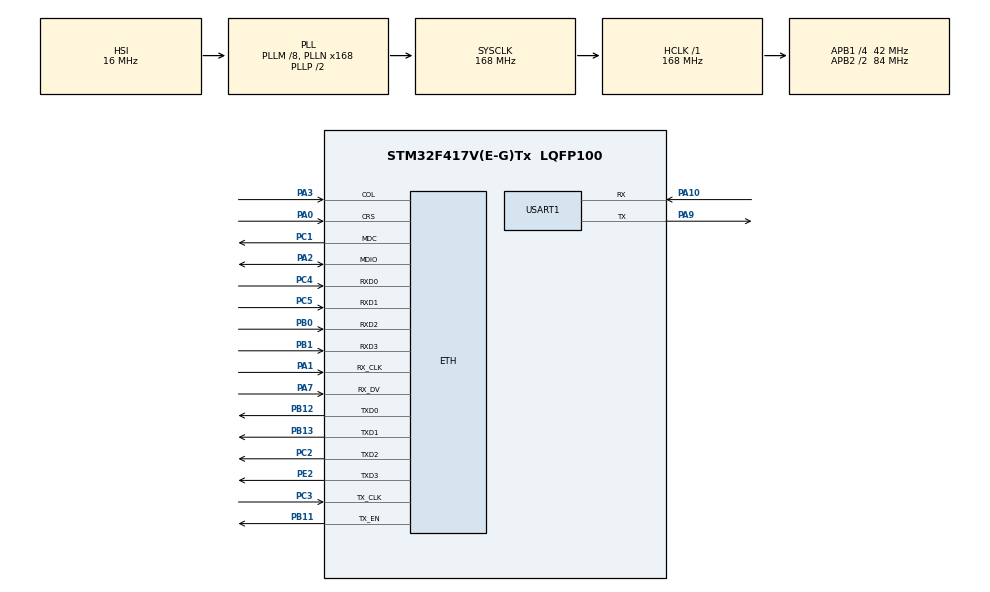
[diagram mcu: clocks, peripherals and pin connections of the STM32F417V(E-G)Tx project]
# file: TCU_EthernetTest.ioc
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ETH.MediaInterface=HAL_ETH_MII_MODE
FREERTOS.Tasks01=defaultTask,0,1024,StartDefaultTask,Default,NULL,Dynamic,NULL,NULL
FREERTOS.configUSE_NEWLIB_REENTRANT=1
LWIP.BSP.number=1
LWIP.GATEWAY_ADDRESS=192.168.002.002
LWIP.IP_ADDRESS=192.168.002.036
LWIP.LWIP_DHCP=0
LWIP.NETMASK_ADDRESS=255.255.255.000
LWIP.Version=v2.1.2_Cube
LWIP0.BSP.STBoard=false
LWIP0.BSP.api=BSP_COMPONENT_DRIVER
LWIP0.BSP.component=DP83848
LWIP0.BSP.instance=DP83848
LWIP0.BSP.name=Driver_PHY
LWIP0.BSP.semaphore=S_DP83848
LWIP0.BSP.solution=DP83848
Mcu.Family=STM32F4
Mcu.Name=STM32F417V(E-G)Tx
Mcu.Package=LQFP100
NVIC.ETH_IRQn=true\:5\:0\:false\:false\:true\:true\:false\:true\:true
NVIC.PriorityGroup=NVIC_PRIORITYGROUP_4
NVIC.TIM1_UP_TIM10_IRQn=true\:15\:0\:false\:false\:true\:false\:false\:true\:true
NVIC.TimeBase=TIM1_UP_TIM10_IRQn
NVIC.TimeBaseIP=TIM1
PA0-WKUP.Mode=MII
PA0-WKUP.Signal=ETH_CRS
PA1.Mode=MII
PA1.Signal=ETH_RX_CLK
PA10.Mode=Asynchronous
PA10.Signal=USART1_RX
PA2.Mode=MII
PA2.Signal=ETH_MDIO
PA3.Mode=MII
PA3.Signal=ETH_COL
PA7.Mode=MII
PA7.Signal=ETH_RX_DV
PA9.Mode=Asynchronous
PA9.Signal=USART1_TX
PB0.Mode=MII
PB0.Signal=ETH_RXD2
PB1.Mode=MII
PB1.Signal=ETH_RXD3
PB11.Mode=MII
PB11.Signal=ETH_TX_EN
PB12.Mode=MII
PB12.Signal=ETH_TXD0
PB13.Mode=MII
PB13.Signal=ETH_TXD1
PC1.Mode=MII
PC1.Signal=ETH_MDC
PC2.Mode=MII
PC2.Signal=ETH_TXD2
PC3.Mode=MII
PC3.Signal=ETH_TX_CLK
PC4.Mode=MII
PC4.Signal=ETH_RXD0
PC5.Mode=MII
PC5.Signal=ETH_RXD1
PE2.Mode=MII
PE2.Signal=ETH_TXD3
ProjectManager.HeapSize=0x200
ProjectManager.StackSize=0x400
ProjectManager.TargetToolchain=STM32CubeIDE
RCC.48MHZClocksFreq_Value=84000000
RCC.AHBFreq_Value=168000000
RCC.APB1CLKDivider=RCC_HCLK_DIV4
RCC.APB1Freq_Value=42000000
RCC.APB1TimFreq_Value=84000000
RCC.APB2CLKDivider=RCC_HCLK_DIV2
RCC.APB2Freq_Value=84000000
RCC.APB2TimFreq_Value=168000000
RCC.CortexFreq_Value=168000000
RCC.HCLKFreq_Value=168000000
RCC.HSE_VALUE=25000000
RCC.HSI_VALUE=16000000
RCC.LSE_VALUE=32768
RCC.PLLM=8
RCC.PLLN=168
RCC.SYSCLKFreq_VALUE=168000000
RCC.SYSCLKSource=RCC_SYSCLKSOURCE_PLLCLK
RCC.VCOOutputFreq_Value=336000000
USART1.VirtualMode=VM_ASYNC
VP_FREERTOS_VS_CMSIS_V1.Mode=CMSIS_V1
VP_LWIP_VS_Enabled.Mode=Enabled
VP_SYS_VS_tim1.Mode=TIM1
board=custom

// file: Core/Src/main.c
/* USER CODE BEGIN Header */
/**
  ******************************************************************************
  * @file           : main.c
  * @brief          : Main program body
  ******************************************************************************
  * @attention
  *
  * Copyright (c) 2024 STMicroelectronics.
  * All rights reserved.
  *
  * This software is licensed under terms that can be found in the LICENSE file
  * in the root directory of this software component.
  * If no LICENSE file comes with this software, it is provided AS-IS.
  *
  ******************************************************************************
  */
/* USER CODE END Header */
#include "main.h"
#include "cmsis_os.h"
#include "lwip.h"

/* USER CODE BEGIN Includes */
#include "tcpclient.h"
#include "math.h"
#include "stdio.h"
/* USER CODE END Includes */

UART_HandleTypeDef huart1;

osThreadId defaultTaskHandle;
/* USER CODE BEGIN PV */
struct tcp_pcb *client_pcb = NULL;
/* USER CODE END PV */

void SystemClock_Config(void);
static void MX_GPIO_Init(void);
static void MX_USART1_UART_Init(void);
void StartDefaultTask(void const * argument);

/* USER CODE BEGIN PFP */
#ifdef __GNUC__
#define PUTCHAR_PROTOTYPE int __io_putchar(int ch)
#else
#define PUTCHAR_PROTOTYPE int fputc(int ch, FILE *f)
#endif
PUTCHAR_PROTOTYPE
{
    //具体哪个串口可以更改huart1为其它串�???????
    HAL_UART_Transmit(&huart1 , (uint8_t *)&ch, 1 , 0xffff);
    return ch;
}
/* USER CODE END PFP */

int main(void)
{

  /* MCU Configuration--------------------------------------------------------*/

  /* Reset of all peripherals, Initializes the Flash interface and the Systick. */
  HAL_Init();

  /* Configure the system clock */
  SystemClock_Config();

  /* Initialize all configured peripherals */
  MX_GPIO_Init();
  MX_USART1_UART_Init();

  /* Create the thread(s) */
  /* definition and creation of defaultTask */
  osThreadDef(defaultTask, StartDefaultTask, osPriorityNormal, 0, 1024);
  defaultTaskHandle = osThreadCreate(osThread(defaultTask), NULL);

  /* Start scheduler */
  osKernelStart();

  /* We should never get here as control is now taken by the scheduler */
  /* Infinite loop */
  while (1)
  {

  }
}

void SystemClock_Config(void)
{
  RCC_OscInitTypeDef RCC_OscInitStruct = {0};
  RCC_ClkInitTypeDef RCC_ClkInitStruct = {0};

  /** Configure the main internal regulator output voltage
  */
  __HAL_RCC_PWR_CLK_ENABLE();
  __HAL_PWR_VOLTAGESCALING_CONFIG(PWR_REGULATOR_VOLTAGE_SCALE1);

  /** Initializes the RCC Oscillators according to the specified parameters
  * in the RCC_OscInitTypeDef structure.
  */
  RCC_OscInitStruct.OscillatorType = RCC_OSCILLATORTYPE_HSI;
  RCC_OscInitStruct.HSIState = RCC_HSI_ON;
  RCC_OscInitStruct.HSICalibrationValue = RCC_HSICALIBRATION_DEFAULT;
  RCC_OscInitStruct.PLL.PLLState = RCC_PLL_ON;
  RCC_OscInitStruct.PLL.PLLSource = RCC_PLLSOURCE_HSI;
  RCC_OscInitStruct.PLL.PLLM = 8;
  RCC_OscInitStruct.PLL.PLLN = 168;
  RCC_OscInitStruct.PLL.PLLP = RCC_PLLP_DIV2;
  RCC_OscInitStruct.PLL.PLLQ = 4;
  if (HAL_RCC_OscConfig(&RCC_OscInitStruct) != HAL_OK)
  {
    Error_Handler();
  }

  /** Initializes the CPU, AHB and APB buses clocks
  */
  RCC_ClkInitStruct.ClockType = RCC_CLOCKTYPE_HCLK|RCC_CLOCKTYPE_SYSCLK
                              |RCC_CLOCKTYPE_PCLK1|RCC_CLOCKTYPE_PCLK2;
  RCC_ClkInitStruct.SYSCLKSource = RCC_SYSCLKSOURCE_PLLCLK;
  RCC_ClkInitStruct.AHBCLKDivider = RCC_SYSCLK_DIV1;
  RCC_ClkInitStruct.APB1CLKDivider = RCC_HCLK_DIV4;
  RCC_ClkInitStruct.APB2CLKDivider = RCC_HCLK_DIV2;

  if (HAL_RCC_ClockConfig(&RCC_ClkInitStruct, FLASH_LATENCY_5) != HAL_OK)
  {
    Error_Handler();
  }
}

static void MX_USART1_UART_Init(void)
{

  huart1.Instance = USART1;
  huart1.Init.BaudRate = 115200;
  huart1.Init.WordLength = UART_WORDLENGTH_8B;
  huart1.Init.StopBits = UART_STOPBITS_1;
  huart1.Init.Parity = UART_PARITY_NONE;
  huart1.Init.Mode = UART_MODE_TX_RX;
  huart1.Init.HwFlowCtl = UART_HWCONTROL_NONE;
  huart1.Init.OverSampling = UART_OVERSAMPLING_16;
  if (HAL_UART_Init(&huart1) != HAL_OK)
  {
    Error_Handler();
  }

}

static void MX_GPIO_Init(void)
{

  /* GPIO Ports Clock Enable */
  __HAL_RCC_GPIOE_CLK_ENABLE();
  __HAL_RCC_GPIOC_CLK_ENABLE();
  __HAL_RCC_GPIOA_CLK_ENABLE();
  __HAL_RCC_GPIOB_CLK_ENABLE();

}

void StartDefaultTask(void const * argument)
{
  /* init code for LWIP */
  MX_LWIP_Init();
  /* USER CODE BEGIN 5 */
  //  TCP_Client_Init();
    int soctemp=create_tcp_client();
  //  double t=0,y=0;
    int t=0,y=0;
    uint8_t send_buf[1550];
  //  uint8_t send_buf[30];
    void init_dataItems();
    /* Infinite loop */
    for(;;)
    {
  //	sprintf(send_buf,"{\"t\": %f, \"y\": %f}\n{\"t\": %f, \"y\": %f}\n{\"t\": %f, \"y\": %f}\n{\"t\": %f, \"y\": %f}\n",t,y,t,y,t,y,t,y);
  //	sprintf(send_buf,"{\"t\": %d, \"y\": %d}\n{\"t\": %d, \"y\": %d}\n{\"t\": %d, \"y\": %d}\n{\"t\": %d, \"y\": %d}\n",t,y,t,y,t,y,t,y);
//  	sprintf(send_buf,
//  			",0x000000010000000000000001,0x000000020000000000000002,0x000000030000000000000003,0x000000040000000000000004\n"
//  			",0x000000010000000000000002,0x000000020000000000000003,0x000000030000000000000006,0x000000040000000000000004\n"
//  			",0x000000010000000000000003,0x000000020000000000000004,0x000000030000000000000009,0x000000040000000000000004\n"
//  			",0x000000010000000000000004,0x000000020000000000000005,0x0000000300000000000000012,0x000000040000000000000004\n"
//  			"12345678901234567890123456789012345678901234567890\n12345678901234567890123456789012345678901234567890\n12345678901234567890123456789012345678901234567890\n"
//  			"12345678901234567890123456789012345678901234567890\n12345678901234567890123456789012345678901234567890\n12345678901234567890123456789012345678901234567890\n"
//  			"12345678901234567890123456789012345678901234567890\n12345678901234567890123456789012345678901234567890\n12345678901234567890123456789012345678901234567890\n"
  //			"12345678901234567890123456789012345678901234567890\n12345678901234567890123456789012345678901234567890\n12345678901234567890123456789012345678901234567890\n"
  //			"12345678901234567890123456789012345678901234567890\n12345678901234567890123456789012345678901234567890\n12345678901234567890123456789012345678901234567890\n"
  //			"12345678901234567890123456789012345678901234567890\n12345678901234567890123456789012345678901234567890\n12345678901234567890123456789012345678901234567890\n"
  //			"12345678901234567890123456789012345678901234567890\n12345678901234567890123456789012345678901234567890\n12345678901234567890123456789012345678901234567890\n"
//  			"12345678901234567890123456789012345678901234567890\n12345678901234567890123456789012345678901234567890\n12345678901234567890123456789012345678901234567890\n"
//  			"12345678901234567890123456789012345678901234567890\n12345678901234567890123456789012345678901234567890\n12345678901234567890123456789012345678901234567890\n"
//  			"12345678901234567890123456789012345678901234567890\n12345678901234567890123456789012345678901234567890\n12345678901234567890123456789012345678901234567890\n"
//  			);

  //	sprintf(send_buf,"{\"t\": %d, \"y\": %d}\n{\"t\": %d, \"y\": %d}\n{\"t\": %d, \"y\": %d}\n{\"t\": %d, \"y\": %d}\n{\"t\": %d, \"y\": %d}\n{\"t\": %d, \"y\": %d}\n{\"t\": %d, \"y\": %d}\n{\"t\": %d, \"y\": %d}\n{\"t\": %d, \"y\": %d}\n{\"t\": %d, \"y\": %d}\n{\"t\": %d, \"y\": %d}\n{\"t\": %d, \"y\": %d}\n{\"t\": %d, \"y\": %d}\n{\"t\": %d, \"y\": %d}\n{\"t\": %d, \"y\": %d}\n{\"t\": %d, \"y\": %d}\n{\"t\": %d, \"y\": %d}\n{\"t\": %d, \"y\": %d}\n{\"t\": %d, \"y\": %d}\n{\"t\": %d, \"y\": %d}\n{\"t\": %d, \"y\": %d}\n{\"t\": %d, \"y\": %d}\n{\"t\": %d, \"y\": %d}\n{\"t\": %d, \"y\": %d}\n{\"t\": %d, \"y\": %d}\n{\"t\": %d, \"y\": %d}\n{\"t\": %d, \"y\": %d}\n{\"t\": %d, \"y\": %d}\n{\"t\": %d, \"y\": %d}\n{\"t\": %d, \"y\": %d}\n{\"t\": %d, \"y\": %d}\n{\"t\": %d, \"y\": %d}\n{\"t\": %d, \"y\": %d}\n{\"t\": %d, \"y\": %d}\n{\"t\": %d, \"y\": %d}\n{\"t\": %d, \"y\": %d}\n",t,y,t,y,t,y,t,y,t,y,t,y,t,y,t,y,t,y,t,y,t,y,t,y,t,y,t,y,t,y,t,y,t,y,t,y,t,y,t,y,t,y,t,y,t,y,t,y,t,y,t,y,t,y,t,y,t,y,t,y,t,y,t,y,t,y,t,y,t,y,t,y);
  //	sprintf(send_buf,"{\"t\": %d, \"y\": %d}\n",(int)t,(int)y);
  //	t+=0.05;
  //	if(t>4)t=0;
  //	y=sin(t*7);
  	t+=1;
  	if(t>100)t=0;
  	y=t*2;//(int)sin(t*7);
  	//发�?�数据到服务�???????
  //	send_json_data(client_pcb, send_buf);
  	add_or_update_data(1,1);add_or_update_data(2,2);add_or_update_data(3,3);add_or_update_data(4,4);
//  	tcp_client_send(soctemp, send_buf);
  	tcp_client_send(soctemp, get_all_data_str());
      osDelay(200);
      HAL_GPIO_TogglePin(GPIOB, GPIO_PIN_0);

//      sprintf(send_buf,
////        			",0x000000010000000000000001,0x000000020000000000000002,0x000000030000000000000003,0x000000040000000000000004\n"
//        			",0x000000010000000000000002,0x000000020000000000000003,0x000000030000000000000006,0x000000040000000000000004\n"
////        			",0x000000010000000000000003,0x000000020000000000000004,0x000000030000000000000009,0x000000040000000000000004\n"
////        			",0x000000010000000000000004,0x000000020000000000000005,0x0000000300000000000000012,0x000000040000000000000004\n"
//     			);

//        	tcp_client_send(soctemp, send_buf);
      add_or_update_data(1,2);add_or_update_data(2,4);add_or_update_data(3,6);add_or_update_data(4,4);
      tcp_client_send(soctemp, get_all_data_str());
            osDelay(200);
            HAL_GPIO_TogglePin(GPIOB, GPIO_PIN_0);

//            sprintf(send_buf,
//      //        			",0x000000010000000000000001,0x000000020000000000000002,0x000000030000000000000003,0x000000040000000000000004\n"
////              			",0x000000010000000000000002,0x000000020000000000000003,0x000000030000000000000006,0x000000040000000000000004\n"
//              			",0x000000010000000000000003,0x000000020000000000000004,0x000000030000000000000009,0x000000040000000000000004\n"
//      //        			",0x000000010000000000000004,0x000000020000000000000005,0x0000000300000000000000012,0x000000040000000000000004\n"
//           			);

//              	tcp_client_send(soctemp, send_buf);
            add_or_update_data(1,3);add_or_update_data(2,6);add_or_update_data(3,9);add_or_update_data(4,4);
            tcp_client_send(soctemp, get_all_data_str());
                  osDelay(200);
                  HAL_GPIO_TogglePin(GPIOB, GPIO_PIN_0);

//                  sprintf(send_buf,
//            //        			",0x000000010000000000000001,0x000000020000000000000002,0x000000030000000000000003,0x000000040000000000000004\n"
////                    			",0x000000010000000000000002,0x000000020000000000000003,0x000000030000000000000006,0x000000040000000000000004\n"
//            //        			",0x000000010000000000000003,0x000000020000000000000004,0x000000030000000000000009,0x000000040000000000000004\n"
//                    			",0x000000010000000000000004,0x000000020000000000000005,0x0000000300000000000000012,0x000000040000000000000004\n"
//                 			);

//                    	tcp_client_send(soctemp, send_buf);
                  add_or_update_data(1,4);add_or_update_data(2,8);add_or_update_data(3,12);add_or_update_data(4,4);
                  tcp_client_send(soctemp, get_all_data_str());
                        osDelay(200);
                        HAL_GPIO_TogglePin(GPIOB, GPIO_PIN_0);

    }
  /* USER CODE END 5 */
}

void HAL_TIM_PeriodElapsedCallback(TIM_HandleTypeDef *htim)
{
  if (htim->Instance == TIM1) {
    HAL_IncTick();
  }
}

void Error_Handler(void)
{
  __disable_irq();
  while (1)
  {
  }
}
